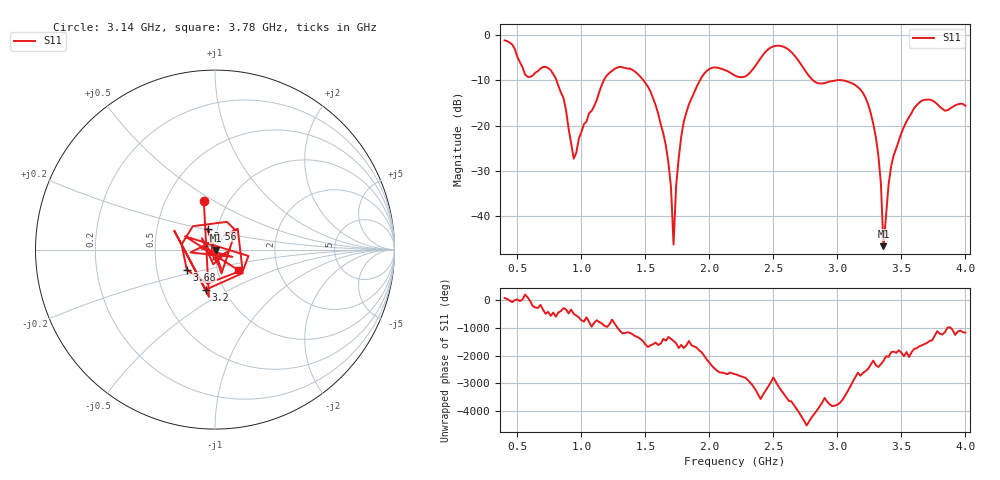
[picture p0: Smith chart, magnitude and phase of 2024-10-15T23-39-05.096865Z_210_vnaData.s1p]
! Created with skrf (http://scikit-rf.org).
# Hz S RI R 50.0
!freq ReS11 ImS11
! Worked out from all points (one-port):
!   181 points, 400 MHz to 4 GHz, reference 50 ohm
!   lowest |S11| = -46.7 dB at 3.36 GHz (marker M1), VSWR 1.01, Z = 50.4 - j0.248 ohm
!   |S11| at or under -10 dB: 805.2 MHz to 1.175 GHz (369.9 MHz wide, 37.4 % of centre); 1.485 GHz to 1.927 GHz (441.9 MHz wide, 25.9 % of centre); 3.04 GHz to end of sweep (the widest 3 of 4)
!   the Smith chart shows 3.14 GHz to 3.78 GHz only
!   S11 on the Smith chart (normalised r, x): 3.14 GHz: 0.77, +0.45; 3.2 GHz: 0.82, -0.39; 3.56 GHz: 0.90, +0.21; 3.68 GHz: 0.71, -0.17; 3.78 GHz: 1.26, -0.30
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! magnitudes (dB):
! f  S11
! 400 MHz  -1.2
! 860 MHz  -13.9
! 940 MHz  -27.3
! 1.18 GHz  -9.7
! 1.3 GHz  -7.0
! 1.58 GHz  -15.5
! 1.68 GHz  -28.3
! 1.7 GHz  -33.6
! 1.72 GHz  -46.3
! 1.74 GHz  -33.4
! 1.76 GHz  -27.3
! 1.8 GHz  -19.1
! 1.94 GHz  -9.3
! 2.2 GHz  -9.0
! 2.5 GHz  -2.5
! 2.66 GHz  -4.4
! 2.84 GHz  -10.6
! 3.1 GHz  -10.5
! 3.14 GHz  -11.0
! 3.2 GHz  -12.8
! 3.32 GHz  -26.6
! 3.34 GHz  -32.9
! 3.36 GHz  -46.7
! 3.42 GHz  -29.0
! 3.56 GHz  -18.1
! 3.68 GHz  -14.3
! 3.78 GHz  -15.3
! 4 GHz  -15.6
